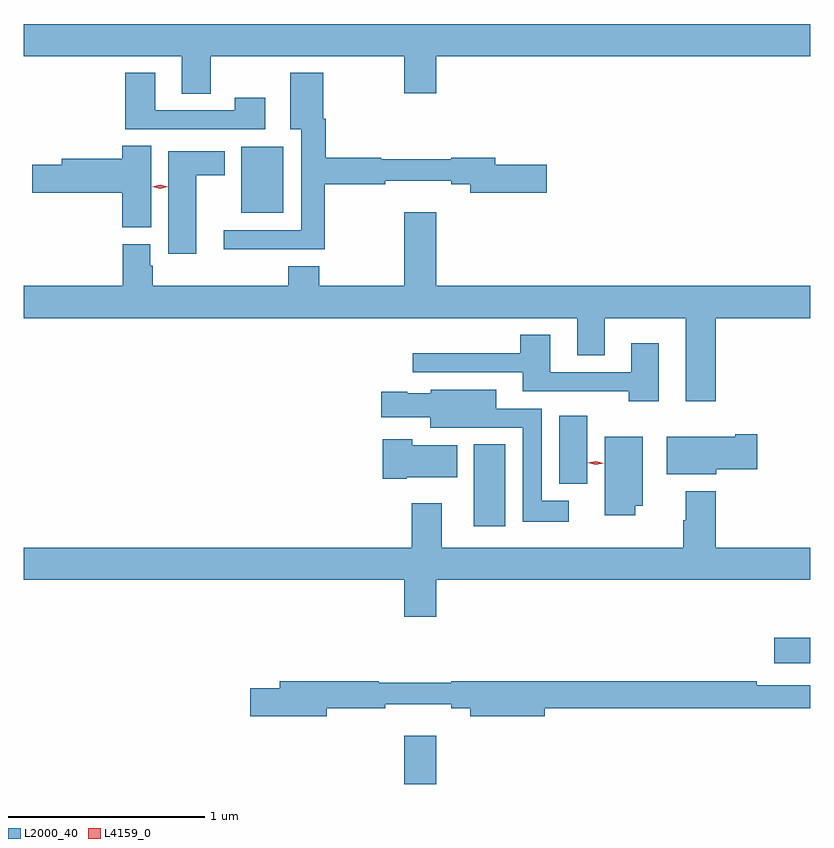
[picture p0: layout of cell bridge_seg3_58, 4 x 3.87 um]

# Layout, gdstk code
import gdstk
lib = gdstk.Library(unit=1e-6, precision=1e-09)
def R(c, l, rs):  # rectangles x0, y0, x1, y1
    for r in rs: c.add(gdstk.rectangle(r[:2], r[2:], *l))
def P(c, l, *ps):  # polygons
    for p in ps: c.add(gdstk.Polygon(p, *l))
L2000_40 = (2000, 40)
L4159_0 = (4159, 0)

bridge_seg3_58 = lib.new_cell('bridge_seg3_58')
R(bridge_seg3_58, L2000_40, [(620.552,701.21,620.716,701.455), (622.434,701.825,622.617,701.955), (620.906,702.522,621.067,702.937), (621.341,702.737,621.484,703.084), (619.724,704.117,619.936,704.452)])
P(bridge_seg3_58, L2000_40, [(619.569,704.912),(620.552,704.912),(620.552,704.724),(620.716,704.724),(620.716,704.912),(622.617,704.912),(622.617,705.076),(618.617,705.076),(618.617,704.912),(619.421,704.912),(619.421,704.722),(619.569,704.722)],
  [(619.846,704.701),(619.69,704.701),(619.69,704.637),(619.285,704.637),(619.285,704.827),(619.133,704.827),(619.133,704.541),(619.846,704.541)],
  [(620.148,704.26),(620.456,704.26),(620.456,704.279),(620.792,704.279),(620.792,704.26),(620.888,704.26),(620.888,704.218),(621.277,704.218),(621.277,704.36),(621.016,704.36),(621.016,704.396),(620.792,704.396),(620.792,704.389),(620.436,704.389),(620.436,704.396),(620.153,704.396),(620.153,704.594),(620.14,704.594),(620.14,704.827),(619.973,704.827),(619.973,704.54),(620.027,704.54),(620.027,704.028),(619.635,704.028),(619.635,703.931),(620.148,703.931)],
  [(619.264,704.456),(619.118,704.456),(619.118,704.39),(618.809,704.39),(618.809,704.36),(618.66,704.36),(618.66,704.218),(619.118,704.218),(619.118,704.041),(619.264,704.041)],
  [(619.495,704.306),(619.639,704.306),(619.639,704.428),(619.352,704.428),(619.352,703.908),(619.495,703.908)],
  [(622.136,703.58),(622.617,703.58),(622.617,703.744),(620.716,703.744),(620.716,704.119),(620.552,704.119),(620.552,703.744),(620.121,703.744),(620.121,703.843),(619.961,703.843),(619.961,703.744),(619.274,703.744),(619.274,703.845),(619.261,703.845),(619.261,703.956),(619.121,703.956),(619.121,703.744),(618.617,703.744),(618.617,703.58),(621.431,703.58),(621.431,703.39),(621.571,703.39),(621.571,703.58),(621.983,703.58),(621.983,703.158),(622.136,703.158)],
  [(621.847,703.453),(621.707,703.453),(621.707,703.305),(621.295,703.305),(621.295,703.495),(621.143,703.495),(621.143,703.402),(620.595,703.402),(620.595,703.305),(621.155,703.305),(621.155,703.209),(621.695,703.209),(621.695,703.158),(621.847,703.158)],
  [(621.388,702.652),(621.252,702.652),(621.252,703.119),(621.019,703.119),(621.019,703.216),(620.688,703.216),(620.688,703.198),(620.568,703.198),(620.568,703.206),(620.436,703.206),(620.436,703.076),(620.684,703.076),(620.684,703.022),(620.91,703.022),(620.91,703.023),(621.156,703.023),(621.156,702.545),(621.388,702.545)],
  [(622.138,702.811),(622.348,702.811),(622.348,702.989),(622.235,702.989),(622.235,702.976),(621.887,702.976),(621.887,702.785),(622.138,702.785)],
  [(621.727,702.626),(621.766,702.626),(621.766,702.976),(621.572,702.976),(621.572,702.576),(621.727,702.576)],
  [(620.566,702.77),(620.821,702.77),(620.821,702.934),(620.592,702.934),(620.592,702.964),(620.444,702.964),(620.444,702.763),(620.566,702.763)],
  [(620.716,702.248),(622.617,702.248),(622.617,702.412),(622.136,702.412),(622.136,702.7),(621.983,702.7),(621.983,702.551),(621.971,702.551),(621.971,702.412),(620.743,702.412),(620.743,702.637),(620.591,702.637),(620.591,702.412),(618.617,702.412),(618.617,702.248),(620.552,702.248),(620.552,702.06),(620.716,702.06)],
  [(620.158,701.596),(620.456,701.596),(620.456,701.615),(620.792,701.615),(620.792,701.596),(620.888,701.596),(620.888,701.554),(621.268,701.554),(621.268,701.596),(622.617,701.596),(622.617,701.712),(622.346,701.712),(622.346,701.732),(620.792,701.732),(620.792,701.725),(620.423,701.725),(620.423,701.732),(619.919,701.732),(619.919,701.696),(619.77,701.696),(619.77,701.554),(620.158,701.554)])
P(bridge_seg3_58, L4159_0, [(621.527,702.833),(621.486,702.844),(621.486,702.844),(621.486,702.845),(621.527,702.853),(621.568,702.842),(621.568,702.842),(621.568,702.842)],
  [(619.31,704.239),(619.27,704.249),(619.27,704.249),(619.27,704.249),(619.31,704.259),(619.349,704.249),(619.349,704.249),(619.349,704.249)])

lib.write_gds('bridge_seg3_58.gds')
